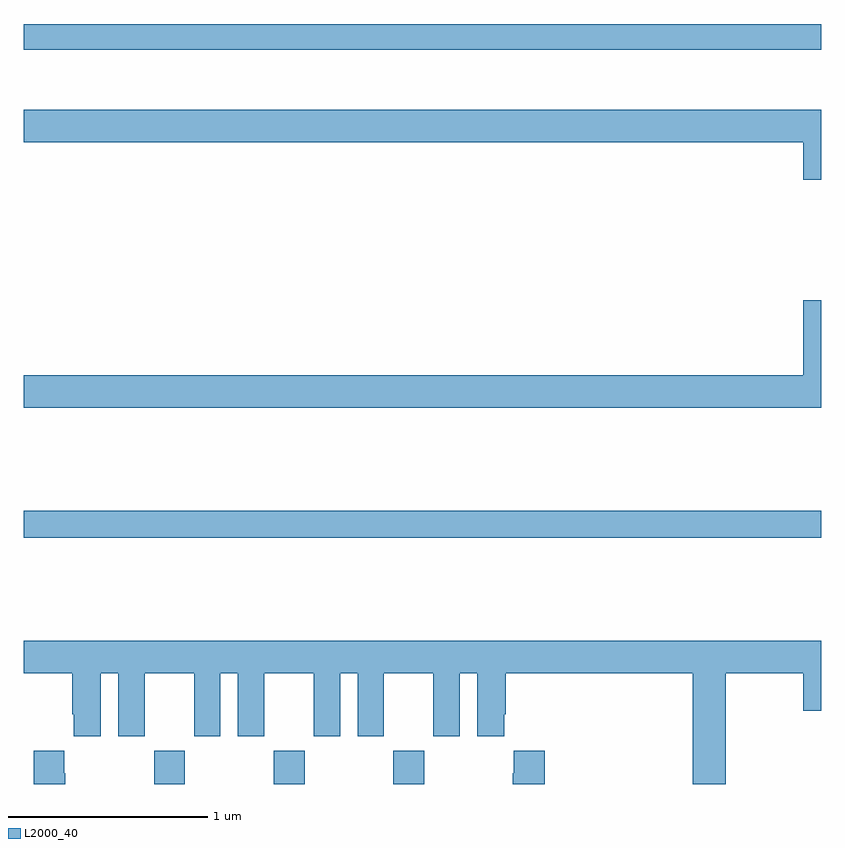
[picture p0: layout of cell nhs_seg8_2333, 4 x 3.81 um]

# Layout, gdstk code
import gdstk
lib = gdstk.Library(unit=1e-6, precision=1e-09)
def R(c, l, rs):  # rectangles x0, y0, x1, y1
    for r in rs: c.add(gdstk.rectangle(r[:2], r[2:], *l))
def A(c, l, x, y, w, h, nx, ny, dx, dy):  # array of equal rectangles
    R(c, l, [(x+i*dx, y+j*dy, x+i*dx+w, y+j*dy+h) for i in range(nx) for j in range(ny)])
def P(c, l, *ps):  # polygons
    for p in ps: c.add(gdstk.Polygon(p, *l))
L2000_40 = (2000, 40)

nhs_seg8_2333 = lib.new_cell('nhs_seg8_2333')
A(nhs_seg8_2333, L2000_40, 257.653, 1159.9, 0.155, 0.168, 3, 1, 0.6, 0)
R(nhs_seg8_2333, L2000_40, [(257,1161.136,261,1161.272), (257,1163.586,261,1163.714)])
P(nhs_seg8_2333, L2000_40, [(261,1163.284),(257,1163.284),(257,1163.12),(260.912,1163.12),(260.912,1162.932),(261,1162.932)],
  [(261,1162.327),(260.912,1162.327),(260.912,1161.952),(257,1161.952),(257,1161.788),(261,1161.788)],
  [(260.521,1160.456),(260.912,1160.456),(260.912,1160.268),(261,1160.268),(261,1160.62),(257,1160.62),(257,1160.456),(257.243,1160.456),(257.243,1160.251),(257.249,1160.251),(257.249,1160.139),(257.386,1160.139),(257.386,1160.456),(257.474,1160.456),(257.474,1160.139),(257.605,1160.139),(257.605,1160.456),(257.855,1160.456),(257.855,1160.139),(257.986,1160.139),(257.986,1160.456),(258.074,1160.456),(258.074,1160.139),(258.205,1160.139),(258.205,1160.456),(258.455,1160.456),(258.455,1160.139),(258.586,1160.139),(258.586,1160.456),(258.674,1160.456),(258.674,1160.139),(258.805,1160.139),(258.805,1160.456),(259.055,1160.456),(259.055,1160.139),(259.186,1160.139),(259.186,1160.456),(259.274,1160.456),(259.274,1160.139),(259.411,1160.139),(259.411,1160.251),(259.418,1160.251),(259.418,1160.456),(260.357,1160.456),(260.357,1159.9),(260.521,1159.9)],
  [(259.613,1160.068),(259.457,1160.068),(259.457,1159.955),(259.453,1159.955),(259.453,1159.9),(259.613,1159.9)],
  [(257.208,1159.955),(257.203,1159.955),(257.203,1160.068),(257.048,1160.068),(257.048,1159.9),(257.208,1159.9)])

lib.write_gds('nhs_seg8_2333.gds')
